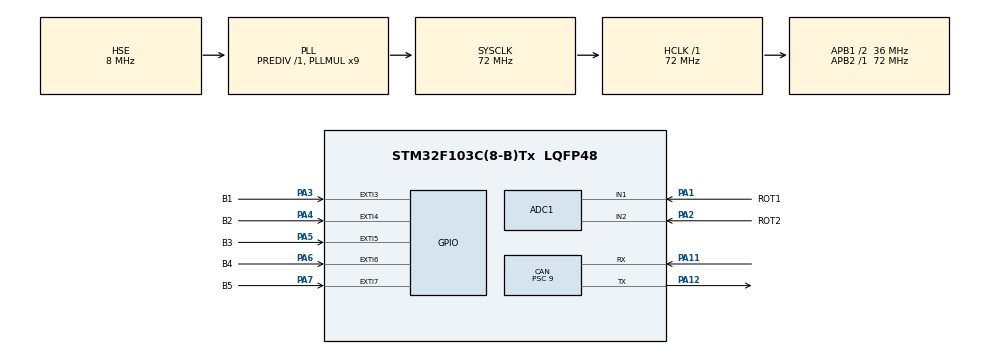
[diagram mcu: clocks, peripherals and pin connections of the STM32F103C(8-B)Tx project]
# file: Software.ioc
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ADC1.Channel-0\#ChannelRegularConversion=ADC_CHANNEL_1
ADC1.Channel-1\#ChannelRegularConversion=ADC_CHANNEL_2
ADC1.Channel-2\#ChannelRegularConversion=ADC_CHANNEL_TEMPSENSOR
ADC1.ContinuousConvMode=ENABLE
ADC1.NbrOfConversion=3
ADC1.NbrOfConversionFlag=1
ADC1.Rank-0\#ChannelRegularConversion=1
ADC1.Rank-1\#ChannelRegularConversion=2
ADC1.Rank-2\#ChannelRegularConversion=3
ADC1.SamplingTime-0\#ChannelRegularConversion=ADC_SAMPLETIME_239CYCLES_5
ADC1.SamplingTime-1\#ChannelRegularConversion=ADC_SAMPLETIME_239CYCLES_5
ADC1.SamplingTime-2\#ChannelRegularConversion=ADC_SAMPLETIME_239CYCLES_5
ADC1.master=1
CAN.BS1=CAN_BS1_3TQ
CAN.BS2=CAN_BS2_4TQ
CAN.CalculateBaudRate=500000
CAN.CalculateTimeBit=2000
CAN.CalculateTimeQuantum=250.0
CAN.Mode=CAN_MODE_NORMAL
CAN.Prescaler=9
Dma.ADC1.0.Direction=DMA_PERIPH_TO_MEMORY
Dma.ADC1.0.Instance=DMA1_Channel1
Dma.ADC1.0.MemDataAlignment=DMA_MDATAALIGN_WORD
Dma.ADC1.0.MemInc=DMA_MINC_ENABLE
Dma.ADC1.0.Mode=DMA_CIRCULAR
Dma.ADC1.0.PeriphDataAlignment=DMA_PDATAALIGN_WORD
Dma.ADC1.0.PeriphInc=DMA_PINC_DISABLE
Dma.ADC1.0.Priority=DMA_PRIORITY_HIGH
Dma.Request0=ADC1
IWDG.Reload=499
Mcu.Family=STM32F1
Mcu.Name=STM32F103C(8-B)Tx
Mcu.Package=LQFP48
NVIC.DMA1_Channel1_IRQn=true\:0\:0\:false\:false\:true\:false\:true\:true
NVIC.EXTI3_IRQn=true\:0\:0\:false\:false\:true\:true\:true\:true
NVIC.EXTI4_IRQn=true\:0\:0\:false\:false\:true\:true\:true\:true
NVIC.EXTI9_5_IRQn=true\:0\:0\:false\:false\:true\:true\:true\:true
NVIC.PriorityGroup=NVIC_PRIORITYGROUP_4
NVIC.TIM4_IRQn=true\:1\:0\:true\:false\:true\:true\:true\:true
PA1.GPIO_Label=ROT1
PA1.Signal=ADCx_IN1
PA11.Mode=CAN_Activate
PA11.Signal=CAN_RX
PA12.Mode=CAN_Activate
PA12.Signal=CAN_TX
PA13.Mode=Serial_Wire
PA13.Signal=SYS_JTMS-SWDIO
PA14.Mode=Serial_Wire
PA14.Signal=SYS_JTCK-SWCLK
PA2.GPIO_Label=ROT2
PA2.Signal=ADCx_IN2
PA3.GPIO_Label=B1
PA3.GPIO_ModeDefaultEXTI=GPIO_MODE_IT_RISING_FALLING
PA3.Signal=GPXTI3
PA4.GPIO_Label=B2
PA4.GPIO_ModeDefaultEXTI=GPIO_MODE_IT_RISING_FALLING
PA4.Signal=GPXTI4
PA5.GPIO_Label=B3
PA5.GPIO_ModeDefaultEXTI=GPIO_MODE_IT_RISING_FALLING
PA5.Signal=GPXTI5
PA6.GPIO_Label=B4
PA6.GPIO_ModeDefaultEXTI=GPIO_MODE_IT_RISING_FALLING
PA6.Signal=GPXTI6
PA7.GPIO_Label=B5
PA7.GPIO_ModeDefaultEXTI=GPIO_MODE_IT_RISING_FALLING
PA7.Signal=GPXTI7
PC14-OSC32_IN.Mode=LSE-External-Oscillator
PC14-OSC32_IN.Signal=RCC_OSC32_IN
PC15-OSC32_OUT.Mode=LSE-External-Oscillator
PC15-OSC32_OUT.Signal=RCC_OSC32_OUT
PD0-OSC_IN.Mode=HSE-External-Oscillator
PD0-OSC_IN.Signal=RCC_OSC_IN
PD1-OSC_OUT.Mode=HSE-External-Oscillator
PD1-OSC_OUT.Signal=RCC_OSC_OUT
ProjectManager.HeapSize=0x200
ProjectManager.StackSize=0x400
ProjectManager.TargetToolchain=MDK-ARM V5.32
RCC.ADCPresc=RCC_ADCPCLK2_DIV6
RCC.AHBFreq_Value=72000000
RCC.APB1CLKDivider=RCC_HCLK_DIV2
RCC.APB1Freq_Value=36000000
RCC.APB1TimFreq_Value=72000000
RCC.APB2Freq_Value=72000000
RCC.APB2TimFreq_Value=72000000
RCC.HCLKFreq_Value=72000000
RCC.PLLMUL=RCC_PLL_MUL9
RCC.PLLSourceVirtual=RCC_PLLSOURCE_HSE
RCC.SYSCLKFreq_VALUE=72000000
RCC.SYSCLKSource=RCC_SYSCLKSOURCE_PLLCLK
RCC.USBFreq_Value=72000000
SH.ADCx_IN1.0=ADC1_IN1,IN1
SH.ADCx_IN2.0=ADC1_IN2,IN2
TIM4.AutoReloadPreload=TIM_AUTORELOAD_PRELOAD_ENABLE
TIM4.Period=72
TIM4.Prescaler=1000-1
VP_ADC1_TempSens_Input.Mode=IN-TempSens
VP_IWDG_VS_IWDG.Mode=IWDG_Activate
VP_TIM4_VS_ClockSourceINT.Mode=Internal
board=custom

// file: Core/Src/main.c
/* USER CODE BEGIN Header */
/**
  ******************************************************************************
  * @file           : main.c
  * @brief          : Main program body
  ******************************************************************************
  * @attention
  *
  * Copyright (c) 2023 STMicroelectronics.
  * All rights reserved.
  *
  * This software is licensed under terms that can be found in the LICENSE file
  * in the root directory of this software component.
  * If no LICENSE file comes with this software, it is provided AS-IS.
  *
  ******************************************************************************
  */
/* USER CODE END Header */
#include "main.h"

ADC_HandleTypeDef hadc1;
DMA_HandleTypeDef hdma_adc1;

CAN_HandleTypeDef hcan;

IWDG_HandleTypeDef hiwdg;

TIM_HandleTypeDef htim4;

/* USER CODE BEGIN PV */

CAN_TxHeaderTypeDef TxHeader;

CAN_RxHeaderTypeDef RxHeader;
CAN_FilterTypeDef FilterConfig;

uint16_t TXID = 100;

uint32_t ADC_Buffer[3] = {0};

uint16_t MCU_Temp = 0;

uint8_t Tx_Data[8] = {0};

uint8_t BUTTONS[5] = {0};
uint8_t POTENTIOMETERS[2] = {0};
uint8_t Status = 1;

uint32_t ms = 0;
uint16_t Tx_Delay = 11;

uint32_t mailbox;

uint8_t CAN_BUFFER_SIZE = 8;

/* USER CODE END PV */

void SystemClock_Config(void);
static void MX_GPIO_Init(void);
static void MX_DMA_Init(void);
static void MX_ADC1_Init(void);
static void MX_CAN_Init(void);
static void MX_TIM4_Init(void);
static void MX_IWDG_Init(void);
/* USER CODE BEGIN PFP */

void CanDataTx(uint16_t);

/* USER CODE END PFP */

/* USER CODE BEGIN 0 */
void HAL_TIM_PeriodElapsedCallback(TIM_HandleTypeDef *htim)
{
  if(ms >= Tx_Delay)
  {
	  ms = 0;
		MCU_Temp = (uint8_t)(357.558 - (float)ADC_Buffer[2] * 0.187364);	//get the mcu temperature from dma register

		POTENTIOMETERS[0] = ADC_Buffer[0] / 340 + 1;
		POTENTIOMETERS[1] = ADC_Buffer[1] / 340 + 1;

		Tx_Data[0] = POTENTIOMETERS[0];
		Tx_Data[1] = POTENTIOMETERS[1];
		Tx_Data[2] = BUTTONS[0];
		Tx_Data[3] = BUTTONS[1];
		Tx_Data[4] = BUTTONS[2];
		Tx_Data[5] = BUTTONS[3];
		Tx_Data[6] = BUTTONS[4];
		Tx_Data[7] = (uint8_t)MCU_Temp;
		CanDataTx(TXID);
		if(HAL_CAN_GetTxMailboxesFreeLevel(&hcan) != 0){
			HAL_CAN_AddTxMessage(&hcan, &TxHeader, Tx_Data, &mailbox);
			HAL_IWDG_Refresh(&hiwdg);
		}
		else{
			HAL_CAN_AbortTxRequest(&hcan, 0);
			HAL_CAN_AbortTxRequest(&hcan, 1);
			HAL_CAN_AbortTxRequest(&hcan, 2);
		}
  }
  if(htim->Instance==TIM4)
	{
    ms++;
	}
}
/* USER CODE END 0 */

int main(void)
{

  /* MCU Configuration--------------------------------------------------------*/

  /* Reset of all peripherals, Initializes the Flash interface and the Systick. */
  HAL_Init();

  /* Configure the system clock */
  SystemClock_Config();

  /* USER CODE BEGIN SysInit */
	HAL_Delay(1000);
  /* USER CODE END SysInit */

  /* Initialize all configured peripherals */
  MX_GPIO_Init();
  MX_DMA_Init();
  MX_ADC1_Init();
  MX_CAN_Init();
  MX_TIM4_Init();
  MX_IWDG_Init();
  /* USER CODE BEGIN 2 */
  HAL_TIM_Base_Start_IT(&htim4);
	HAL_ADC_Start_DMA(&hadc1, ADC_Buffer, 3);
  /* USER CODE END 2 */

  /* Infinite loop */
  while (1)
  {

    /* USER CODE BEGIN 3 */
		HAL_Delay(1);
  }
  /* USER CODE END 3 */
}

void SystemClock_Config(void)
{
  RCC_OscInitTypeDef RCC_OscInitStruct = {0};
  RCC_ClkInitTypeDef RCC_ClkInitStruct = {0};
  RCC_PeriphCLKInitTypeDef PeriphClkInit = {0};

  /** Initializes the RCC Oscillators according to the specified parameters
  * in the RCC_OscInitTypeDef structure.
  */
  RCC_OscInitStruct.OscillatorType = RCC_OSCILLATORTYPE_LSI|RCC_OSCILLATORTYPE_HSE;
  RCC_OscInitStruct.HSEState = RCC_HSE_ON;
  RCC_OscInitStruct.HSEPredivValue = RCC_HSE_PREDIV_DIV1;
  RCC_OscInitStruct.HSIState = RCC_HSI_ON;
  RCC_OscInitStruct.LSIState = RCC_LSI_ON;
  RCC_OscInitStruct.PLL.PLLState = RCC_PLL_ON;
  RCC_OscInitStruct.PLL.PLLSource = RCC_PLLSOURCE_HSE;
  RCC_OscInitStruct.PLL.PLLMUL = RCC_PLL_MUL9;
  if (HAL_RCC_OscConfig(&RCC_OscInitStruct) != HAL_OK)
  {
    Error_Handler();
  }

  /** Initializes the CPU, AHB and APB buses clocks
  */
  RCC_ClkInitStruct.ClockType = RCC_CLOCKTYPE_HCLK|RCC_CLOCKTYPE_SYSCLK
                              |RCC_CLOCKTYPE_PCLK1|RCC_CLOCKTYPE_PCLK2;
  RCC_ClkInitStruct.SYSCLKSource = RCC_SYSCLKSOURCE_PLLCLK;
  RCC_ClkInitStruct.AHBCLKDivider = RCC_SYSCLK_DIV1;
  RCC_ClkInitStruct.APB1CLKDivider = RCC_HCLK_DIV2;
  RCC_ClkInitStruct.APB2CLKDivider = RCC_HCLK_DIV1;

  if (HAL_RCC_ClockConfig(&RCC_ClkInitStruct, FLASH_LATENCY_2) != HAL_OK)
  {
    Error_Handler();
  }
  PeriphClkInit.PeriphClockSelection = RCC_PERIPHCLK_ADC;
  PeriphClkInit.AdcClockSelection = RCC_ADCPCLK2_DIV6;
  if (HAL_RCCEx_PeriphCLKConfig(&PeriphClkInit) != HAL_OK)
  {
    Error_Handler();
  }
}

static void MX_ADC1_Init(void)
{

  ADC_ChannelConfTypeDef sConfig = {0};

  /** Common config
  */
  hadc1.Instance = ADC1;
  hadc1.Init.ScanConvMode = ADC_SCAN_ENABLE;
  hadc1.Init.ContinuousConvMode = ENABLE;
  hadc1.Init.DiscontinuousConvMode = DISABLE;
  hadc1.Init.ExternalTrigConv = ADC_SOFTWARE_START;
  hadc1.Init.DataAlign = ADC_DATAALIGN_RIGHT;
  hadc1.Init.NbrOfConversion = 3;
  if (HAL_ADC_Init(&hadc1) != HAL_OK)
  {
    Error_Handler();
  }

  /** Configure Regular Channel
  */
  sConfig.Channel = ADC_CHANNEL_1;
  sConfig.Rank = ADC_REGULAR_RANK_1;
  sConfig.SamplingTime = ADC_SAMPLETIME_239CYCLES_5;
  if (HAL_ADC_ConfigChannel(&hadc1, &sConfig) != HAL_OK)
  {
    Error_Handler();
  }

  /** Configure Regular Channel
  */
  sConfig.Channel = ADC_CHANNEL_2;
  sConfig.Rank = ADC_REGULAR_RANK_2;
  if (HAL_ADC_ConfigChannel(&hadc1, &sConfig) != HAL_OK)
  {
    Error_Handler();
  }

  /** Configure Regular Channel
  */
  sConfig.Channel = ADC_CHANNEL_TEMPSENSOR;
  sConfig.Rank = ADC_REGULAR_RANK_3;
  if (HAL_ADC_ConfigChannel(&hadc1, &sConfig) != HAL_OK)
  {
    Error_Handler();
  }

}

static void MX_CAN_Init(void)
{

  /* USER CODE BEGIN CAN_Init 1 */
  __HAL_RCC_CAN1_CLK_ENABLE();
  /* USER CODE END CAN_Init 1 */
  hcan.Instance = CAN1;
  hcan.Init.Prescaler = 9;
  hcan.Init.Mode = CAN_MODE_NORMAL;
  hcan.Init.SyncJumpWidth = CAN_SJW_1TQ;
  hcan.Init.TimeSeg1 = CAN_BS1_3TQ;
  hcan.Init.TimeSeg2 = CAN_BS2_4TQ;
  hcan.Init.TimeTriggeredMode = DISABLE;
  hcan.Init.AutoBusOff = DISABLE;
  hcan.Init.AutoWakeUp = DISABLE;
  hcan.Init.AutoRetransmission = DISABLE;
  hcan.Init.ReceiveFifoLocked = DISABLE;
  hcan.Init.TransmitFifoPriority = DISABLE;
  if (HAL_CAN_Init(&hcan) != HAL_OK)
  {
    Error_Handler();
  }
  /* USER CODE BEGIN CAN_Init 2 */
  /*##-2- Configure the CAN Filter ###########################################*/

	FilterConfig.FilterBank = 0;
	FilterConfig.FilterMode = CAN_FILTERMODE_IDMASK;
	FilterConfig.FilterScale = CAN_FILTERSCALE_32BIT;
	FilterConfig.FilterIdHigh = 0xFFFF;
	FilterConfig.FilterIdLow = 0x0000;
	FilterConfig.FilterMaskIdHigh = 0xFFFF;
	FilterConfig.FilterMaskIdLow = 0x0000;
	FilterConfig.FilterFIFOAssignment = CAN_RX_FIFO0;
	FilterConfig.FilterActivation = ENABLE;
	FilterConfig.SlaveStartFilterBank = 0;

	if (HAL_CAN_ConfigFilter(&hcan, &FilterConfig) != HAL_OK) {
	/* Filter configuration Error */
		Error_Handler();
	}

	/* Start the CAN peripheral */
	if (HAL_CAN_Start(&hcan) != HAL_OK) {
	/* Start Error */
		Error_Handler();
	}
	if (HAL_CAN_ActivateNotification(&hcan, CAN_IT_RX_FIFO0_MSG_PENDING | CAN_IT_TX_MAILBOX_EMPTY) != HAL_OK) {
	 /* Notification Error */
		Error_Handler();
	}
  /* USER CODE END CAN_Init 2 */

}

static void MX_IWDG_Init(void)
{

  hiwdg.Instance = IWDG;
  hiwdg.Init.Prescaler = IWDG_PRESCALER_4;
  hiwdg.Init.Reload = 499;
  if (HAL_IWDG_Init(&hiwdg) != HAL_OK)
  {
    Error_Handler();
  }

}

static void MX_TIM4_Init(void)
{

  TIM_ClockConfigTypeDef sClockSourceConfig = {0};
  TIM_MasterConfigTypeDef sMasterConfig = {0};

  htim4.Instance = TIM4;
  htim4.Init.Prescaler = 1000-1;
  htim4.Init.CounterMode = TIM_COUNTERMODE_UP;
  htim4.Init.Period = 72;
  htim4.Init.ClockDivision = TIM_CLOCKDIVISION_DIV1;
  htim4.Init.AutoReloadPreload = TIM_AUTORELOAD_PRELOAD_ENABLE;
  if (HAL_TIM_Base_Init(&htim4) != HAL_OK)
  {
    Error_Handler();
  }
  sClockSourceConfig.ClockSource = TIM_CLOCKSOURCE_INTERNAL;
  if (HAL_TIM_ConfigClockSource(&htim4, &sClockSourceConfig) != HAL_OK)
  {
    Error_Handler();
  }
  sMasterConfig.MasterOutputTrigger = TIM_TRGO_RESET;
  sMasterConfig.MasterSlaveMode = TIM_MASTERSLAVEMODE_DISABLE;
  if (HAL_TIMEx_MasterConfigSynchronization(&htim4, &sMasterConfig) != HAL_OK)
  {
    Error_Handler();
  }

}

static void MX_DMA_Init(void)
{

  /* DMA controller clock enable */
  __HAL_RCC_DMA1_CLK_ENABLE();

  /* DMA interrupt init */
  /* DMA1_Channel1_IRQn interrupt configuration */
  HAL_NVIC_SetPriority(DMA1_Channel1_IRQn, 0, 0);
  HAL_NVIC_EnableIRQ(DMA1_Channel1_IRQn);

}

static void MX_GPIO_Init(void)
{
  GPIO_InitTypeDef GPIO_InitStruct = {0};

  /* GPIO Ports Clock Enable */
  __HAL_RCC_GPIOC_CLK_ENABLE();
  __HAL_RCC_GPIOD_CLK_ENABLE();
  __HAL_RCC_GPIOA_CLK_ENABLE();

  /*Configure GPIO pins : B1_Pin B2_Pin B3_Pin B4_Pin
                           B5_Pin */
  GPIO_InitStruct.Pin = B1_Pin|B2_Pin|B3_Pin|B4_Pin
                          |B5_Pin;
  GPIO_InitStruct.Mode = GPIO_MODE_IT_RISING_FALLING;
  GPIO_InitStruct.Pull = GPIO_NOPULL;
  HAL_GPIO_Init(GPIOA, &GPIO_InitStruct);

  /* EXTI interrupt init*/
  HAL_NVIC_SetPriority(EXTI3_IRQn, 0, 0);
  HAL_NVIC_EnableIRQ(EXTI3_IRQn);

  HAL_NVIC_SetPriority(EXTI4_IRQn, 0, 0);
  HAL_NVIC_EnableIRQ(EXTI4_IRQn);

  HAL_NVIC_SetPriority(EXTI9_5_IRQn, 0, 0);
  HAL_NVIC_EnableIRQ(EXTI9_5_IRQn);

}

/* USER CODE BEGIN 4 */

void CanDataTx(uint16_t STDID)
{
	TxHeader.StdId = STDID;
	TxHeader.IDE = CAN_ID_STD;
	TxHeader.RTR = CAN_RTR_DATA;
	TxHeader.DLC = CAN_BUFFER_SIZE;
	TxHeader.TransmitGlobalTime = DISABLE;
}

/* USER CODE END 4 */

void Error_Handler(void)
{
  /* USER CODE BEGIN Error_Handler_Debug */
  /* User can add his own implementation to report the HAL error return state */
  __disable_irq();
  HAL_NVIC_SystemReset();
  while (1)
  {
  }
  /* USER CODE END Error_Handler_Debug */
}
